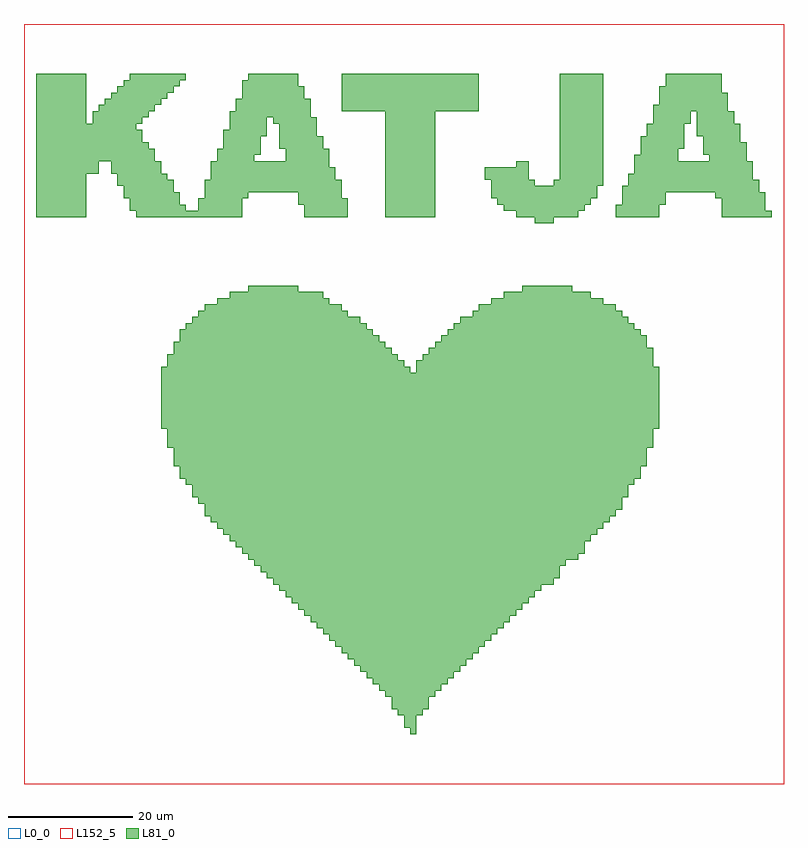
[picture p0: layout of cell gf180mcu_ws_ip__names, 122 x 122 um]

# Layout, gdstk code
import gdstk
lib = gdstk.Library(unit=1e-6, precision=1e-09)
def R(c, l, rs):  # rectangles x0, y0, x1, y1
    for r in rs: c.add(gdstk.rectangle(r[:2], r[2:], *l))
def P(c, l, *ps):  # polygons
    for p in ps: c.add(gdstk.Polygon(p, *l))
L0_0 = (0, 0)
L81_0 = (81, 0)
L152_5 = (152, 5)

gf180mcu_ws_ip__names = lib.new_cell('gf180mcu_ws_ip__names')
R(gf180mcu_ws_ip__names, L0_0, [(0,0,122,122)])
P(gf180mcu_ws_ip__names, L81_0, [(62,8),(62,9),(61,9),(61,11),(60,11),(60,12),(59,12),(59,14),(58,14),(58,15),(57,15),(57,16),(56,16),(56,17),(55,17),(55,18),(54,18),(54,19),(53,19),(53,20),(52,20),(52,21),(51,21),(51,22),(50,22),(50,23),(49,23),(49,24),(48,24),(48,25),(47,25),(47,26),(46,26),(46,27),(45,27),(45,28),(44,28),(44,29),(43,29),(43,30),(42,30),(42,31),(41,31),(41,32),(40,32),(40,33),(39,33),(39,34),(38,34),(38,35),(37,35),(37,36),(36,36),(36,37),(35,37),(35,38),(34,38),(34,39),(33,39),(33,40),(32,40),(32,41),(31,41),(31,42),(30,42),(30,43),(29,43),(29,45),(28,45),(28,46),(27,46),(27,48),(26,48),(26,49),(25,49),(25,51),(24,51),(24,54),(23,54),(23,57),(22,57),(22,67),(23,67),(23,69),(24,69),(24,71),(25,71),(25,73),(26,73),(26,74),(27,74),(27,75),(28,75),(28,76),(29,76),(29,77),(31,77),(31,78),(33,78),(33,79),(36,79),(36,80),(44,80),(44,79),(48,79),(48,78),(49,78),(49,77),(51,77),(51,76),(52,76),(52,75),(54,75),(54,74),(55,74),(55,73),(56,73),(56,72),(57,72),(57,71),(58,71),(58,70),(59,70),(59,69),(60,69),(60,68),(61,68),(61,67),(62,67),(62,66),(63,66),(63,68),(64,68),(64,69),(65,69),(65,70),(66,70),(66,71),(67,71),(67,72),(68,72),(68,73),(69,73),(69,74),(70,74),(70,75),(72,75),(72,76),(73,76),(73,77),(75,77),(75,78),(77,78),(77,79),(80,79),(80,80),(88,80),(88,79),(91,79),(91,78),(93,78),(93,77),(95,77),(95,76),(96,76),(96,75),(97,75),(97,74),(98,74),(98,73),(99,73),(99,72),(100,72),(100,70),(101,70),(101,67),(102,67),(102,57),(101,57),(101,54),(100,54),(100,51),(99,51),(99,49),(98,49),(98,48),(97,48),(97,46),(96,46),(96,44),(95,44),(95,43),(94,43),(94,42),(93,42),(93,41),(92,41),(92,40),(91,40),(91,39),(90,39),(90,37),(89,37),(89,36),(87,36),(87,35),(86,35),(86,33),(85,33),(85,32),(83,32),(83,31),(82,31),(82,30),(81,30),(81,29),(80,29),(80,28),(79,28),(79,27),(78,27),(78,26),(77,26),(77,25),(76,25),(76,24),(75,24),(75,23),(74,23),(74,22),(73,22),(73,21),(72,21),(72,20),(71,20),(71,19),(70,19),(70,18),(69,18),(69,17),(68,17),(68,16),(67,16),(67,15),(66,15),(66,14),(65,14),(65,12),(64,12),(64,11),(63,11),(63,8)],
  [(2,91),(2,114),(10,114),(10,106),(11,106),(11,108),(12,108),(12,109),(13,109),(13,110),(14,110),(14,111),(15,111),(15,112),(16,112),(16,113),(17,113),(17,114),(26,114),(26,113),(25,113),(25,112),(24,112),(24,111),(23,111),(23,110),(22,110),(22,109),(21,109),(21,108),(20,108),(20,107),(19,107),(19,106),(18,106),(18,105),(19,105),(19,103),(20,103),(20,102),(21,102),(21,100),(22,100),(22,98),(23,98),(23,97),(24,97),(24,95),(25,95),(25,93),(26,93),(26,92),(28,92),(28,94),(29,94),(29,97),(30,97),(30,100),(31,100),(31,102),(32,102),(32,105),(33,105),(33,107),(39,107),(39,104),(38,104),(38,101),(37,101),(37,100),(42,100),(42,102),(41,102),(41,106),(40,106),(40,107),(33,107),(33,108),(34,108),(34,110),(35,110),(35,113),(36,113),(36,114),(44,114),(44,112),(45,112),(45,110),(46,110),(46,107),(47,107),(47,104),(48,104),(48,102),(49,102),(49,99),(50,99),(50,97),(51,97),(51,94),(52,94),(52,91),(45,91),(45,93),(44,93),(44,95),(36,95),(36,94),(35,94),(35,91),(18,91),(18,92),(17,92),(17,94),(16,94),(16,96),(15,96),(15,98),(14,98),(14,100),(12,100),(12,98),(10,98),(10,91)],
  [(58,91),(58,108),(51,108),(51,114),(73,114),(73,108),(66,108),(66,91)],
  [(82,90),(82,91),(79,91),(79,92),(77,92),(77,93),(76,93),(76,94),(75,94),(75,97),(74,97),(74,99),(79,99),(79,100),(81,100),(81,97),(82,97),(82,96),(85,96),(85,97),(86,97),(86,114),(93,114),(93,96),(92,96),(92,94),(91,94),(91,93),(90,93),(90,92),(89,92),(89,91),(85,91),(85,90)],
  [(95,91),(95,93),(96,93),(96,96),(97,96),(97,98),(98,98),(98,101),(99,101),(99,104),(100,104),(100,106),(101,106),(101,108),(107,108),(107,106),(106,106),(106,102),(105,102),(105,100),(110,100),(110,101),(109,101),(109,104),(108,104),(108,108),(101,108),(101,109),(102,109),(102,112),(103,112),(103,114),(112,114),(112,111),(113,111),(113,108),(114,108),(114,106),(115,106),(115,103),(116,103),(116,100),(117,100),(117,97),(118,97),(118,95),(119,95),(119,92),(120,92),(120,91),(112,91),(112,94),(111,94),(111,95),(103,95),(103,93),(102,93),(102,91)])
R(gf180mcu_ws_ip__names, L152_5, [(0,0,122,122)])

lib.write_gds('gf180mcu_ws_ip__names.gds')
